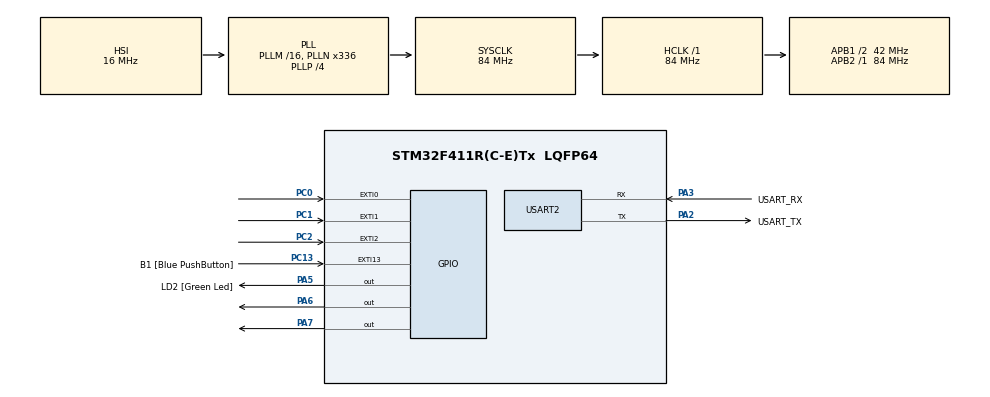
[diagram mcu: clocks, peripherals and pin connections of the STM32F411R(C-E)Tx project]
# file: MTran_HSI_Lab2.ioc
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Mcu.Family=STM32F4
Mcu.Name=STM32F411R(C-E)Tx
Mcu.Package=LQFP64
NVIC.EXTI0_IRQn=true\:0\:0\:false\:false\:true\:true\:true\:true
NVIC.EXTI1_IRQn=true\:0\:0\:false\:false\:true\:true\:true\:true
NVIC.EXTI2_IRQn=true\:0\:0\:false\:false\:true\:true\:true\:true
NVIC.PriorityGroup=NVIC_PRIORITYGROUP_0
NVIC.TIM2_IRQn=true\:0\:0\:false\:false\:true\:true\:true\:true
NVIC.USART2_IRQn=true\:0\:0\:false\:false\:true\:true\:true\:true
PA13.GPIO_Label=TMS
PA13.Mode=Serial_Wire
PA13.Signal=SYS_JTMS-SWDIO
PA14.GPIO_Label=TCK
PA14.Mode=Serial_Wire
PA14.Signal=SYS_JTCK-SWCLK
PA2.GPIO_Label=USART_TX
PA2.Mode=Asynchronous
PA2.Signal=USART2_TX
PA3.GPIO_Label=USART_RX
PA3.Mode=Asynchronous
PA3.Signal=USART2_RX
PA5.GPIO_Label=LD2 [Green Led]
PA5.Signal=GPIO_Output
PA6.Signal=GPIO_Output
PA7.Signal=GPIO_Output
PB3.GPIO_Label=SWO
PB3.Signal=SYS_JTDO-SWO
PC0.GPIO_ModeDefaultEXTI=GPIO_MODE_IT_FALLING
PC0.GPIO_PuPd=GPIO_PULLUP
PC0.Signal=GPXTI0
PC1.GPIO_ModeDefaultEXTI=GPIO_MODE_IT_FALLING
PC1.GPIO_PuPd=GPIO_PULLUP
PC1.Signal=GPXTI1
PC13-ANTI_TAMP.GPIO_Label=B1 [Blue PushButton]
PC13-ANTI_TAMP.GPIO_ModeDefaultEXTI=GPIO_MODE_IT_FALLING
PC13-ANTI_TAMP.Signal=GPXTI13
PC14-OSC32_IN.Mode=LSE-External-Oscillator
PC14-OSC32_IN.Signal=RCC_OSC32_IN
PC15-OSC32_OUT.Mode=LSE-External-Oscillator
PC15-OSC32_OUT.Signal=RCC_OSC32_OUT
PC2.GPIO_ModeDefaultEXTI=GPIO_MODE_IT_FALLING
PC2.GPIO_PuPd=GPIO_PULLUP
PC2.Signal=GPXTI2
PH0\ -\ OSC_IN.Mode=HSE-External-Clock-Source
PH0\ -\ OSC_IN.Signal=RCC_OSC_IN
PH1\ -\ OSC_OUT.Mode=HSE-External-Clock-Source
PH1\ -\ OSC_OUT.Signal=RCC_OSC_OUT
ProjectManager.HeapSize=0x200
ProjectManager.StackSize=0x400
ProjectManager.TargetToolchain=STM32CubeIDE
RCC.48MHZClocksFreq_Value=84000000
RCC.AHBFreq_Value=84000000
RCC.APB1CLKDivider=RCC_HCLK_DIV2
RCC.APB1Freq_Value=42000000
RCC.APB1TimFreq_Value=84000000
RCC.APB2Freq_Value=84000000
RCC.APB2TimFreq_Value=84000000
RCC.CortexFreq_Value=84000000
RCC.FLatency-AdvancedSettings=FLASH_LATENCY_2
RCC.HCLKFreq_Value=84000000
RCC.HSE_VALUE=8000000
RCC.HSI_VALUE=16000000
RCC.PLLN=336
RCC.PLLP=RCC_PLLP_DIV4
RCC.SYSCLKFreq_VALUE=84000000
RCC.SYSCLKSource=RCC_SYSCLKSOURCE_PLLCLK
RCC.VCOOutputFreq_Value=336000000
TIM2.Channel-PWM\ Generation1\ No\ Output=TIM_CHANNEL_1
TIM2.Period=19999
TIM2.Prescaler=83
TIM2.Pulse-PWM\ Generation1\ No\ Output=10000
USART2.VirtualMode=VM_ASYNC
VP_TIM2_VS_ClockSourceINT.Mode=Internal
VP_TIM2_VS_no_output1.Mode=PWM Generation1 No Output
board=NUCLEO-F411RE

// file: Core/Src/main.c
/* USER CODE BEGIN Header */
/**
  ******************************************************************************
  * @file           : main.c
  * @brief          : Main program body
  ******************************************************************************
  * @attention
  *
  * Copyright (c) 2024 STMicroelectronics.
  * All rights reserved.
  *
  * This software is licensed under terms that can be found in the LICENSE file
  * in the root directory of this software component.
  * If no LICENSE file comes with this software, it is provided AS-IS.
  *
  ******************************************************************************
  */

/*
* FILE : main.c
* PROJECT : GPIO - Lab2
* PROGRAMMER : Minh Quan Tran
* FIRST VERSION : 2024 - 09 - 19
* DESCRIPTION : This file is the main code file to read/write GPIO
*/
/* USER CODE END Header */
#include "main.h"

/* USER CODE BEGIN Includes */
#include "stdbool.h"
#include "stdio.h"
/* USER CODE END Includes */

/* USER CODE BEGIN PTD */
typedef enum
{
	NONE,
	LEFT,
	RIGHT,
	TOGGLE,
} pushButtonState_t;

typedef enum
{
	NOTHING   = 0,
	LEFT_PIN  = GPIO_PIN_0,
	RIGHT_PIN = GPIO_PIN_1,
	TOGGLE_PIN  = GPIO_PIN_2,
} pushButtonPin_t;

typedef enum
{
	BTN,
	PROMPT,
} ledControlState_t;
/* USER CODE END PTD */

/* USER CODE BEGIN PD */
#define UART_TIMEOUT 3000 //UART Time out after 3s
#define UART_TIMEOUT_ERROR 0xFF
/* USER CODE END PD */

TIM_HandleTypeDef htim2;

UART_HandleTypeDef huart2;

/* USER CODE BEGIN PV */
volatile pushButtonPin_t btnPressed = NOTHING;
volatile pushButtonState_t btnState = NONE;
volatile ledControlState_t controlState = BTN;
/* USER CODE END PV */

void SystemClock_Config(void);
static void MX_GPIO_Init(void);
static void MX_USART2_UART_Init(void);
static void MX_TIM2_Init(void);

/* USER CODE BEGIN 0 */

/* FUNCTION : setLed
*
* DESCRIPTION : This function is used to set the 3 LED
*
* PARAMETERS :
*
* bool led1Status: status of LED1
* bool led2Status: status of LED2
* bool led3Status: status of LED3
*
*
*
* RETURNS :
*
*/
void setLed(bool led1Status,bool led2Status, bool led3Status)
{
	HAL_GPIO_WritePin(GPIOA,GPIO_PIN_5,led1Status);
	HAL_GPIO_WritePin(GPIOA,GPIO_PIN_6,led2Status);
	HAL_GPIO_WritePin(GPIOA,GPIO_PIN_7,led3Status);

}

/* FUNCTION : shiftLeftLed
*
* DESCRIPTION : This function is used to shift LED to the LEFT using the setLed function
*
* PARAMETERS :
*
*
* RETURNS :
*
*/
void shiftLeftLed(void)
{
	setLed(0,0,1);
	HAL_Delay(100);
	setLed(0,1,0);
	HAL_Delay(100);
	setLed(1,0,0);
	HAL_Delay(100);
	setLed(0,0,0);
	HAL_Delay(100);
}

/* FUNCTION : shiftRightLed
*
* DESCRIPTION : This function is used to shift LED to the RIGHT using the setLed function
*
* PARAMETERS :
*
*
* RETURNS :
*
*/
void shiftRightLed(void)
{
	setLed(1,0,0);
	HAL_Delay(100);
	setLed(0,1,0);
	HAL_Delay(100);
	setLed(0,0,1);
	HAL_Delay(100);
	setLed(0,0,0);
	HAL_Delay(100);
}

/* FUNCTION : getCharFromUart2
*
* DESCRIPTION : This function is used to get char from UART
*
* PARAMETERS :
*
*
* RETURNS : uint8_t: return either the character or TIMEOUT code
*
*/
uint8_t getCharFromUart2(void)
{
    uint8_t rcvChar;
    HAL_StatusTypeDef status;

    // Try to receive a single character with a timeout
    status = HAL_UART_Receive(&huart2, &rcvChar, 1, UART_TIMEOUT);

    if (status == HAL_OK)
    {
        // Successfully received a character
        return rcvChar;
    }
    else
    {
        // Timeout occurred
        return UART_TIMEOUT_ERROR;
    }
}

/* FUNCTION : HAL_GPIO_EXTI_Callback
*
* DESCRIPTION : This function is used to call back whenever there an external interrupt
* happen. It used to start the timer to count for 20ms
*
* PARAMETERS :
*
* uint16_t GPIO_Pin: PIN number
*
* RETURNS : VOID
*
*/
void HAL_GPIO_EXTI_Callback(uint16_t GPIO_Pin)
{
	btnPressed = GPIO_Pin;

	// Start a timer to handle debounce
    HAL_TIM_Base_Start_IT(&htim2);
}
/* FUNCTION : HAL_TIM_PeriodElapsedCallback
*
* DESCRIPTION : This function is used to check the button state after
* 20ms to see if the button remained at a previous state (debounce)
*
* PARAMETERS :
*
* TIM_HandleTypeDef *htim: timer
*
* RETURNS : VOID
*
*/
void HAL_TIM_PeriodElapsedCallback(TIM_HandleTypeDef *htim)
{
    if (htim->Instance == TIM2)
    {
        // Stop the timer
        HAL_TIM_Base_Stop_IT(&htim2);

        // Check the button state after 20ms
        if ((btnPressed == LEFT_PIN) && (HAL_GPIO_ReadPin(GPIOC,LEFT_PIN) == GPIO_PIN_RESET))
        {
        	btnState = LEFT;
        }
        else if ((btnPressed == RIGHT_PIN) && (HAL_GPIO_ReadPin(GPIOC,RIGHT_PIN) == GPIO_PIN_RESET))
        {
        	btnState = RIGHT;
        }
        else if ((btnPressed == TOGGLE_PIN) && (HAL_GPIO_ReadPin(GPIOC,TOGGLE_PIN) == GPIO_PIN_RESET))
        {
            btnState = TOGGLE;
        }
    }
}

/* USER CODE END 0 */

int main(void)
{

  /* USER CODE BEGIN 1 */
	char rcvChar = ' ';
  /* USER CODE END 1 */

  /* MCU Configuration--------------------------------------------------------*/

  /* Reset of all peripherals, Initializes the Flash interface and the Systick. */
  HAL_Init();

  /* Configure the system clock */
  SystemClock_Config();

  /* Initialize all configured peripherals */
  MX_GPIO_Init();
  MX_USART2_UART_Init();
  MX_TIM2_Init();

  /* Infinite loop */
  /* USER CODE BEGIN WHILE */
  while (1)
  {
	  switch(controlState)
	  {
	  	  case BTN:
	  		  switch(btnState)
	  		  {
	  			  case LEFT:
	  				  shiftLeftLed();
	  				  break;
	  			  case RIGHT:
	  				  shiftRightLed();
	  				  break;
	  			  case TOGGLE:
	  				  controlState = PROMPT;
	  				  btnState = NONE;
	  				  break;
	  			  default:
	  				  break;

	  		  }
	  		  break;
	  	  case PROMPT:

	  		  // Toggle a button again to enter how the LED lit
	  		  if (btnState == TOGGLE)
	  		  {
				  printf("Insert L/R to control LED\r\n");
				  switch(getCharFromUart2())
				  {
					  case 'L':
						  rcvChar = 'L';
						  printf("Shift Left\r\n");
						  break;
					  case 'R':
						  rcvChar = 'R';
						  printf("Shift Right\r\n");
						  break;
					  case UART_TIMEOUT_ERROR:
						  printf("Prompt Timeout\r\n");
						  printf("Switching to BTN control state\r\n");
						  controlState = BTN;
						  rcvChar = ' ';
					  default:
						  break;

				  }
				  btnState = NONE;
	  		  }

	  		  switch(rcvChar)
	  		  {
			  	  case 'L':
			  		  shiftLeftLed();
			  		  break;
			  	  case 'R':
			  		  shiftRightLed();
			  		  break;
			  	  default:
			  		  break;
	  		  }

	  }
    /* USER CODE END WHILE */

  }
}

void SystemClock_Config(void)
{
  RCC_OscInitTypeDef RCC_OscInitStruct = {0};
  RCC_ClkInitTypeDef RCC_ClkInitStruct = {0};

  /** Configure the main internal regulator output voltage
  */
  __HAL_RCC_PWR_CLK_ENABLE();
  __HAL_PWR_VOLTAGESCALING_CONFIG(PWR_REGULATOR_VOLTAGE_SCALE1);

  /** Initializes the RCC Oscillators according to the specified parameters
  * in the RCC_OscInitTypeDef structure.
  */
  RCC_OscInitStruct.OscillatorType = RCC_OSCILLATORTYPE_HSI;
  RCC_OscInitStruct.HSIState = RCC_HSI_ON;
  RCC_OscInitStruct.HSICalibrationValue = RCC_HSICALIBRATION_DEFAULT;
  RCC_OscInitStruct.PLL.PLLState = RCC_PLL_ON;
  RCC_OscInitStruct.PLL.PLLSource = RCC_PLLSOURCE_HSI;
  RCC_OscInitStruct.PLL.PLLM = 16;
  RCC_OscInitStruct.PLL.PLLN = 336;
  RCC_OscInitStruct.PLL.PLLP = RCC_PLLP_DIV4;
  RCC_OscInitStruct.PLL.PLLQ = 4;
  if (HAL_RCC_OscConfig(&RCC_OscInitStruct) != HAL_OK)
  {
    Error_Handler();
  }

  /** Initializes the CPU, AHB and APB buses clocks
  */
  RCC_ClkInitStruct.ClockType = RCC_CLOCKTYPE_HCLK|RCC_CLOCKTYPE_SYSCLK
                              |RCC_CLOCKTYPE_PCLK1|RCC_CLOCKTYPE_PCLK2;
  RCC_ClkInitStruct.SYSCLKSource = RCC_SYSCLKSOURCE_PLLCLK;
  RCC_ClkInitStruct.AHBCLKDivider = RCC_SYSCLK_DIV1;
  RCC_ClkInitStruct.APB1CLKDivider = RCC_HCLK_DIV2;
  RCC_ClkInitStruct.APB2CLKDivider = RCC_HCLK_DIV1;

  if (HAL_RCC_ClockConfig(&RCC_ClkInitStruct, FLASH_LATENCY_2) != HAL_OK)
  {
    Error_Handler();
  }
}

static void MX_TIM2_Init(void)
{

  TIM_ClockConfigTypeDef sClockSourceConfig = {0};
  TIM_MasterConfigTypeDef sMasterConfig = {0};
  TIM_OC_InitTypeDef sConfigOC = {0};

  htim2.Instance = TIM2;
  htim2.Init.Prescaler = 83;
  htim2.Init.CounterMode = TIM_COUNTERMODE_UP;
  htim2.Init.Period = 19999;
  htim2.Init.ClockDivision = TIM_CLOCKDIVISION_DIV1;
  htim2.Init.AutoReloadPreload = TIM_AUTORELOAD_PRELOAD_DISABLE;
  if (HAL_TIM_Base_Init(&htim2) != HAL_OK)
  {
    Error_Handler();
  }
  sClockSourceConfig.ClockSource = TIM_CLOCKSOURCE_INTERNAL;
  if (HAL_TIM_ConfigClockSource(&htim2, &sClockSourceConfig) != HAL_OK)
  {
    Error_Handler();
  }
  if (HAL_TIM_PWM_Init(&htim2) != HAL_OK)
  {
    Error_Handler();
  }
  sMasterConfig.MasterOutputTrigger = TIM_TRGO_RESET;
  sMasterConfig.MasterSlaveMode = TIM_MASTERSLAVEMODE_DISABLE;
  if (HAL_TIMEx_MasterConfigSynchronization(&htim2, &sMasterConfig) != HAL_OK)
  {
    Error_Handler();
  }
  sConfigOC.OCMode = TIM_OCMODE_PWM1;
  sConfigOC.Pulse = 0;
  sConfigOC.OCPolarity = TIM_OCPOLARITY_HIGH;
  sConfigOC.OCFastMode = TIM_OCFAST_DISABLE;
  if (HAL_TIM_PWM_ConfigChannel(&htim2, &sConfigOC, TIM_CHANNEL_1) != HAL_OK)
  {
    Error_Handler();
  }

}

static void MX_USART2_UART_Init(void)
{

  huart2.Instance = USART2;
  huart2.Init.BaudRate = 115200;
  huart2.Init.WordLength = UART_WORDLENGTH_8B;
  huart2.Init.StopBits = UART_STOPBITS_1;
  huart2.Init.Parity = UART_PARITY_NONE;
  huart2.Init.Mode = UART_MODE_TX_RX;
  huart2.Init.HwFlowCtl = UART_HWCONTROL_NONE;
  huart2.Init.OverSampling = UART_OVERSAMPLING_16;
  if (HAL_UART_Init(&huart2) != HAL_OK)
  {
    Error_Handler();
  }

}

static void MX_GPIO_Init(void)
{
  GPIO_InitTypeDef GPIO_InitStruct = {0};

  /* GPIO Ports Clock Enable */
  __HAL_RCC_GPIOC_CLK_ENABLE();
  __HAL_RCC_GPIOH_CLK_ENABLE();
  __HAL_RCC_GPIOA_CLK_ENABLE();
  __HAL_RCC_GPIOB_CLK_ENABLE();

  /*Configure GPIO pin Output Level */
  HAL_GPIO_WritePin(GPIOA, LD2_Pin|GPIO_PIN_6|GPIO_PIN_7, GPIO_PIN_RESET);

  /*Configure GPIO pin : B1_Pin */
  GPIO_InitStruct.Pin = B1_Pin;
  GPIO_InitStruct.Mode = GPIO_MODE_IT_FALLING;
  GPIO_InitStruct.Pull = GPIO_NOPULL;
  HAL_GPIO_Init(B1_GPIO_Port, &GPIO_InitStruct);

  /*Configure GPIO pins : PC0 PC1 PC2 */
  GPIO_InitStruct.Pin = GPIO_PIN_0|GPIO_PIN_1|GPIO_PIN_2;
  GPIO_InitStruct.Mode = GPIO_MODE_IT_FALLING;
  GPIO_InitStruct.Pull = GPIO_PULLUP;
  HAL_GPIO_Init(GPIOC, &GPIO_InitStruct);

  /*Configure GPIO pins : LD2_Pin PA6 PA7 */
  GPIO_InitStruct.Pin = LD2_Pin|GPIO_PIN_6|GPIO_PIN_7;
  GPIO_InitStruct.Mode = GPIO_MODE_OUTPUT_PP;
  GPIO_InitStruct.Pull = GPIO_NOPULL;
  GPIO_InitStruct.Speed = GPIO_SPEED_FREQ_LOW;
  HAL_GPIO_Init(GPIOA, &GPIO_InitStruct);

  /* EXTI interrupt init*/
  HAL_NVIC_SetPriority(EXTI0_IRQn, 0, 0);
  HAL_NVIC_EnableIRQ(EXTI0_IRQn);

  HAL_NVIC_SetPriority(EXTI1_IRQn, 0, 0);
  HAL_NVIC_EnableIRQ(EXTI1_IRQn);

  HAL_NVIC_SetPriority(EXTI2_IRQn, 0, 0);
  HAL_NVIC_EnableIRQ(EXTI2_IRQn);

}

void Error_Handler(void)
{
  __disable_irq();
  while (1)
  {
  }
}
